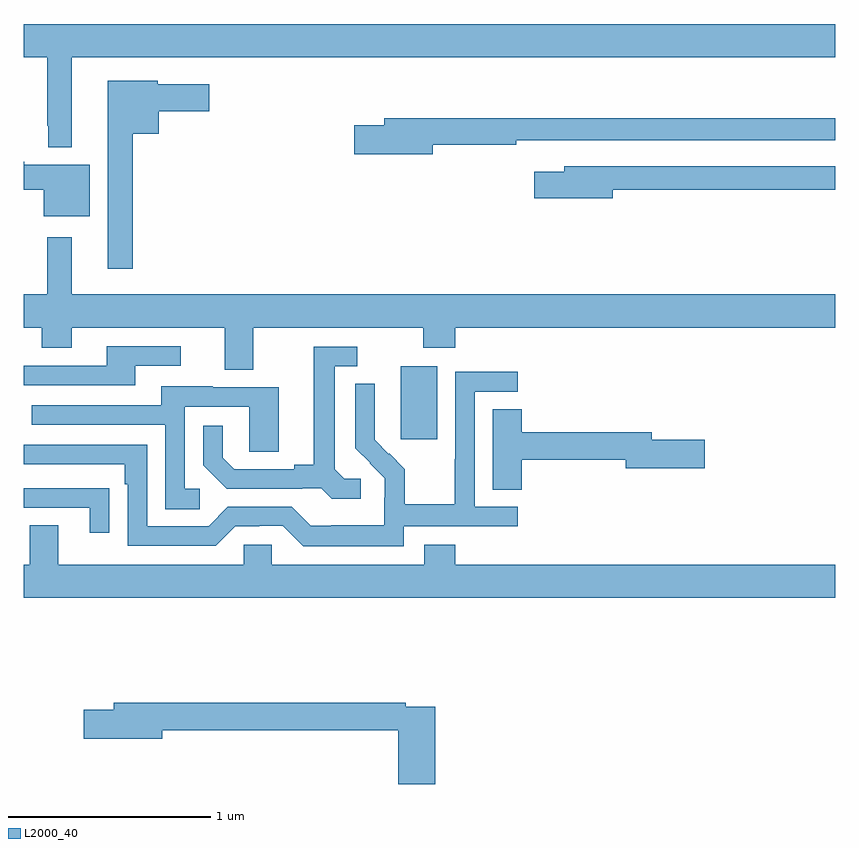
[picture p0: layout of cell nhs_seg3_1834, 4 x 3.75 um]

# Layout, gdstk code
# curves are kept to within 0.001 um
import gdstk
lib = gdstk.Library(unit=1e-6, precision=1e-09)
def R(c, l, rs):  # rectangles x0, y0, x1, y1
    for r in rs: c.add(gdstk.rectangle(r[:2], r[2:], *l))
def P(c, l, *ps):  # polygons
    for p in ps: c.add(gdstk.Polygon(p, *l))
L2000_40 = (2000, 40)

nhs_seg3_1834 = lib.new_cell('nhs_seg3_1834')
R(nhs_seg3_1834, L2000_40, [(206.858,728.337,207.037,728.698)])
P(nhs_seg3_1834, L2000_40, [(205.237,730.22),(209,730.22),(209,730.384),(205,730.384),(205,730.22),(205.116,730.22),(205.116,729.883),(205.122,729.883),(205.122,729.776),(205.237,729.776)],
  [(205.537,729.842),(205.666,729.842),(205.666,729.953),(205.915,729.953),(205.915,730.087),(205.662,730.087),(205.662,730.105),(205.415,730.105),(205.415,729.177),(205.537,729.177)],
  [(207.016,729.79),(207.428,729.79),(207.428,729.81),(209,729.81),(209,729.919),(206.777,729.919),(206.777,729.885),(206.628,729.885),(206.628,729.743),(207.016,729.743)],
  [(205.327,729.691),(205.004,729.691),(205.004,729.704),(205,729.704),(205,729.568),(205.1,729.568),(205.1,729.437),(205.327,729.437)],
  [(207.904,729.568),(209,729.568),(209,729.684),(207.665,729.684),(207.665,729.655),(207.516,729.655),(207.516,729.526),(207.904,729.526)],
  [(206.131,728.888),(206.968,728.888),(206.968,728.789),(207.128,728.789),(207.128,728.888),(209,728.888),(209,729.052),(205.237,729.052),(205.237,729.334),(205.116,729.334),(205.116,729.052),(205,729.052),(205,728.888),(205.09,728.888),(205.09,728.789),(205.237,728.789),(205.237,728.888),(205.991,728.888),(205.991,728.68),(206.131,728.68)],
  [(205.549,728.7),(205.774,728.7),(205.774,728.796),(205.409,728.796),(205.409,728.7),(205,728.7),(205,728.604),(205.549,728.604)],
  [(206.662,728.142),(206.58,728.142),(206.533,728.189),(206.533,728.697),(206.644,728.697),(206.644,728.793),(206.429,728.793),(206.429,728.213),(206.333,728.213),(206.333,728.19),(206.038,728.19),(205.981,728.247),(205.981,728.404),(205.884,728.404),(205.884,728.21),(206,728.094),(206.372,728.094),(206.372,728.097),(206.466,728.097),(206.518,728.045),(206.662,728.045)],
  [(206.874,727.908),(207.436,727.908),(207.436,728.004),(207.222,728.004),(207.222,728.571),(207.436,728.571),(207.436,728.67),(207.126,728.67),(207.126,728.24),(207.124,728.24),(207.124,728.017),(206.879,728.017),(206.879,728.191),(206.802,728.268),(206.799,728.265),(206.729,728.336),(206.73,728.612),(206.634,728.612),(206.634,728.294),(206.78,728.146),(206.78,728.049),(206.778,728.049),(206.778,727.915),(206.515,727.915),(206.515,727.911),(206.415,727.911),(206.322,728.004),(206.007,728.004),(205.911,727.908),(205.608,727.908),(205.608,728.31),(205,728.31),(205,728.214),(205.499,728.214),(205.499,728.117),(205.512,728.117),(205.512,727.812),(205.947,727.812),(206.043,727.908),(206.162,727.908),(206.162,727.911),(206.277,727.911),(206.377,727.811),(206.874,727.811)],
  [(205.867,728.094),(205.794,728.094),(205.794,728.499),(206.112,728.499),(206.112,728.275),(206.257,728.275),(206.257,728.595),(205.933,728.595),(205.933,728.599),(205.679,728.599),(205.679,728.505),(205.039,728.505),(205.039,728.409),(205.698,728.409),(205.698,727.993),(205.867,727.993)],
  [(207.455,728.236),(207.968,728.236),(207.968,728.194),(208.357,728.194),(208.357,728.336),(208.096,728.336),(208.096,728.372),(207.455,728.372),(207.455,728.486),(207.311,728.486),(207.311,728.089),(207.455,728.089)],
  [(205.421,728.096),(205.319,728.096),(205.319,728.097),(205,728.097),(205,728.001),(205.325,728.001),(205.325,727.878),(205.421,727.878)],
  [(209,727.72),(207.128,727.72),(207.128,727.819),(206.975,727.819),(206.975,727.72),(206.223,727.72),(206.223,727.818),(206.085,727.818),(206.085,727.72),(205.171,727.72),(205.171,727.915),(205.031,727.915),(205.031,727.72),(205,727.72),(205,727.556),(209,727.556)],
  [(207.029,727.02),(206.882,727.02),(206.882,727.04),(205.445,727.04),(205.445,727.004),(205.296,727.004),(205.296,726.862),(205.684,726.862),(205.684,726.904),(206.846,726.904),(206.846,726.639),(207.029,726.639)])

lib.write_gds('nhs_seg3_1834.gds')
